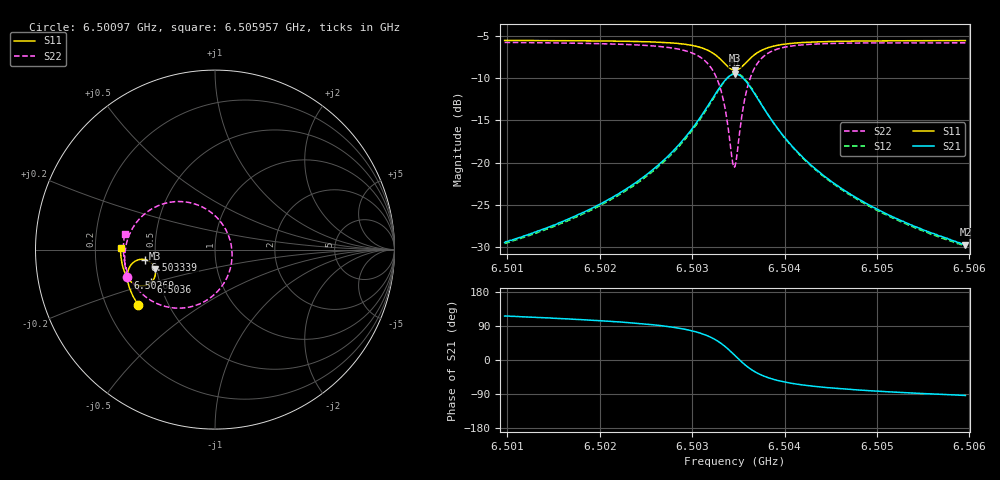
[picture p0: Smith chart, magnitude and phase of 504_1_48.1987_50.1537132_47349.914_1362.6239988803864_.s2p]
#  HZ  S  RI  R  50.00
! Rohde & Schwarz Vector Network Analyzer
! Rohde-Schwarz,ZNB20-2Port,1311601062101988,3.16
! Created: UTC 3/20/2024, 11:58:41 AM
! freq[Hz]  re:S11  im:S11  re:S21  im:S21  re:S12  im:S12  re:S22  im:S22
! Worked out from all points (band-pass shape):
!   401 points, 6.50097 GHz to 6.505957 GHz, reference 50 ohm
!   highest |S21| = -9.52 dB at 6.503463 GHz (marker M1); lowest = -29.7 dB at 6.505957 GHz (marker M2)
!   |S21| within 3 dB of the highest: 6.503215 GHz to 6.503713 GHz (498.7 kHz wide, 0.00767 % of centre)
!   lowest |S11| = -9.1 dB at 6.503463 GHz (marker M3), VSWR 2.08, Z = 24.4 - j5.9 ohm
!   |S11| at or under -10 dB: nowhere
!   |S22| runs from -20.6 to -5.8 dB; largest |S21 - S12| = 0.011
!   S11 on the Smith chart (normalised r, x): 6.50097 GHz: 0.34, -0.29; 6.50269 GHz: 0.33, -0.14; 6.503339 GHz: 0.44, -0.06; 6.5036 GHz: 0.45, -0.19; 6.505957 GHz: 0.31, +0.01
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6.50097e9  -0.4269 -0.3093  -0.0148 0.0302  -0.0131 0.0305  -0.4899 -0.1535
6.5018052e9  -0.4628 -0.2474  -0.0142 0.0482  -0.0118 0.0478  -0.5029 -0.0646
6.5022665e9  -0.479 -0.2062  -0.0112 0.0678  -0.00833 0.0668  -0.4998 0.00128
6.5026405e9  -0.4878 -0.1647  -0.00207 0.0975  0.00134 0.0953  -0.48 0.0767
6.5026904e9  -0.4883 -0.1581  0.00039 0.1032  0.00393 0.1006  -0.4746 0.0893
6.5029522e9  -0.484 -0.1167  0.0266 0.1445  0.0301 0.1402  -0.4198 0.1722
6.5031392e9  -0.4624 -0.0785  0.0815 0.1869  0.0836 0.181  -0.3153 0.245
6.5032514e9  -0.4294 -0.0576  0.1513 0.2047  0.1517 0.1988  -0.1896 0.2676
6.5033386e9  -0.3883 -0.056  0.2316 0.1883  0.2317 0.1839  -0.0508 0.227
6.5034259e9  -0.3458 -0.0841  0.3094 0.1153  0.3119 0.1117  0.0733 0.0833
6.5034508e9  -0.3378 -0.0981  0.323 0.0839  0.3261 0.0797  0.0903 0.0245
6.5034633e9  -0.3349 -0.1058  0.3273 0.0673  0.3309 0.0626  0.0944 -0.00671
6.5034882e9  -0.3319 -0.1218  0.3309 0.0333  0.3349 0.0271  0.0925 -0.0691
6.5035256e9  -0.3337 -0.1455  0.3242 -0.0164  0.3276 -0.0245  0.0664 -0.1569
6.5036004e9  -0.3555 -0.1823  0.2784 -0.0923  0.2788 -0.1031  -0.0414 -0.279
6.5037126e9  -0.4007 -0.2022  0.1928 -0.1377  0.1881 -0.147  -0.2148 -0.3261
6.5038747e9  -0.4476 -0.1928  0.1098 -0.1343  0.103 -0.1393  -0.3646 -0.2785
6.5040492e9  -0.4752 -0.1715  0.0646 -0.1138  0.0586 -0.116  -0.4375 -0.2128
6.5042985e9  -0.4962 -0.1415  0.0344 -0.089  0.0296 -0.0894  -0.4813 -0.1399
6.5046975e9  -0.5126 -0.0998  0.0143 -0.0642  0.0112 -0.0638  -0.5048 -0.0607
6.5051338e9  -0.5214 -0.0594  0.0051 -0.0486  0.00301 -0.048  -0.5104 0.000959
6.5059566e9  -0.5264 0.0105  -0.00206 -0.0326  -0.00327 -0.0319  -0.5027 0.0885
